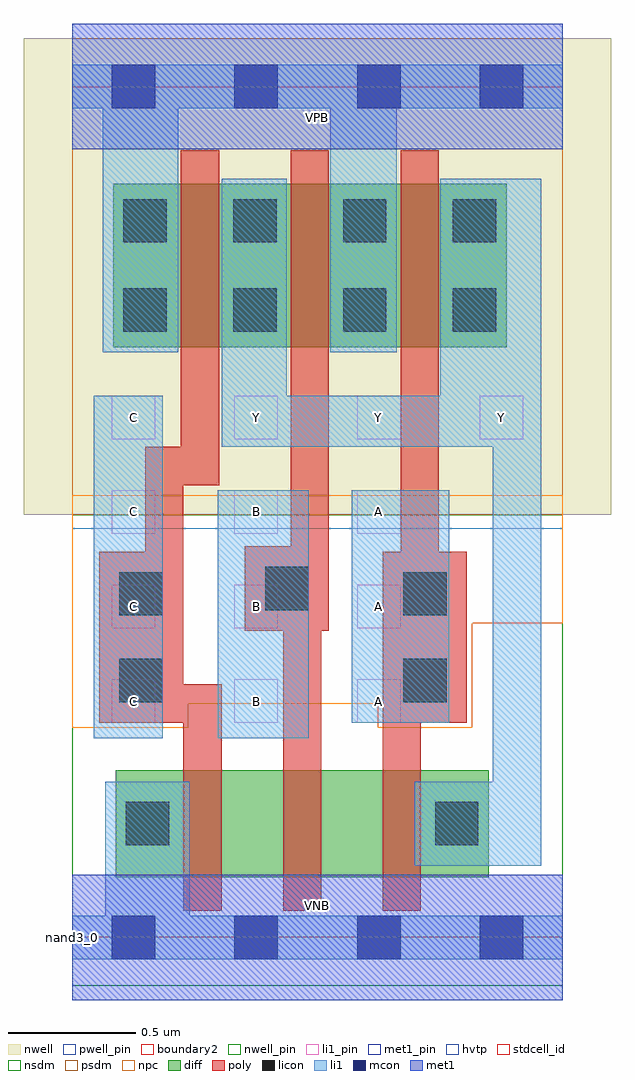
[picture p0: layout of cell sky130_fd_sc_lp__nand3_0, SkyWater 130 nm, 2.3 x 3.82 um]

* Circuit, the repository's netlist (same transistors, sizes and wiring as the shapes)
* Copyright 2020 The SkyWater PDK Authors
*
* Licensed under the Apache License, Version 2.0 (the "License");
* you may not use this file except in compliance with the License.
* You may obtain a copy of the License at
*
*     https://www.apache.org/licenses/LICENSE-2.0
*
* Unless required by applicable law or agreed to in writing, software
* distributed under the License is distributed on an "AS IS" BASIS,
* WITHOUT WARRANTIES OR CONDITIONS OF ANY KIND, either express or implied.
* See the License for the specific language governing permissions and
* limitations under the License.
*
* SPDX-License-Identifier: Apache-2.0

.SUBCKT sky130_fd_sc_lp__nand3_0 A B C VGND VNB VPB VPWR Y
*.PININFO A:I B:I C:I VGND:I VNB:I VPB:I VPWR:I Y:O
MMP0 Y A VPWR VPB sky130_fd_pr__pfet_01v8_hvt m=1 w=0.64U l=0.15U mult=1 sa=0.265
+ sb=0.265 sd=0.28 area=0.063 perim=1.14
MMP1 Y B VPWR VPB sky130_fd_pr__pfet_01v8_hvt m=1 w=0.64U l=0.15U mult=1 sa=0.265
+ sb=0.265 sd=0.28 area=0.063 perim=1.14
MMP2 Y C VPWR VPB sky130_fd_pr__pfet_01v8_hvt m=1 w=0.64U l=0.15U mult=1 sa=0.265
+ sb=0.265 sd=0.28 area=0.063 perim=1.14
MMN0 Y A sndA VNB sky130_fd_pr__nfet_01v8 m=1 w=0.42U l=0.15U mult=1 sa=0.265 sb=0.265
+ sd=0.28 area=0.063 perim=1.14
MMN1 sndA B sndB VNB sky130_fd_pr__nfet_01v8 m=1 w=0.42U l=0.15U mult=1 sa=0.265
+ sb=0.265 sd=0.28 area=0.063 perim=1.14
MMN2 sndB C VGND VNB sky130_fd_pr__nfet_01v8 m=1 w=0.42U l=0.15U mult=1 sa=0.265
+ sb=0.265 sd=0.28 area=0.063 perim=1.14
.ENDS sky130_fd_sc_lp__nand3_0

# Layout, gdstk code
import gdstk
lib = gdstk.Library(unit=1e-6, precision=1e-09)
def R(c, l, rs):  # rectangles x0, y0, x1, y1
    for r in rs: c.add(gdstk.rectangle(r[:2], r[2:], *l))
def A(c, l, x, y, w, h, nx, ny, dx, dy):  # array of equal rectangles
    R(c, l, [(x+i*dx, y+j*dy, x+i*dx+w, y+j*dy+h) for i in range(nx) for j in range(ny)])
def P(c, l, *ps):  # polygons
    for p in ps: c.add(gdstk.Polygon(p, *l))
nwell_pin = (64, 16)
nwell = (64, 20)
diff = (65, 20)
poly = (66, 20)
licon = (66, 44)
li1_pin = (67, 16)
li1 = (67, 20)
mcon = (67, 44)
met1_pin = (68, 16)
met1 = (68, 20)
hvtp = (78, 44)
stdcell_id = (81, 4)
nsdm = (93, 44)
psdm = (94, 20)
npc = (95, 20)
pwell_pin = (122, 16)
boundary2 = (236, 0)

sky130_fd_sc_lp__nand3_0 = lib.new_cell('sky130_fd_sc_lp__nand3_0')
R(sky130_fd_sc_lp__nand3_0, nwell_pin, [(0,3.085,1.92,3.33)])
R(sky130_fd_sc_lp__nand3_0, nwell, [(-0.19,1.655,2.11,3.52)])
R(sky130_fd_sc_lp__nand3_0, diff, [(0.17,0.235,1.63,0.655), (0.16,2.31,1.7,2.95)])
P(sky130_fd_sc_lp__nand3_0, poly, [(0.585,0.99),(0.435,0.99),(0.435,1.77),(0.575,1.77),(0.575,3.08),(0.425,3.08),(0.425,1.92),(0.285,1.92),(0.285,1.51),(0.105,1.51),(0.105,0.84),(0.435,0.84),(0.435,0.105),(0.585,0.105)],
  [(1.005,3.08),(0.855,3.08),(0.855,1.53),(0.675,1.53),(0.675,1.2),(0.825,1.2),(0.825,0.105),(0.975,0.105),(0.975,1.2),(1.005,1.2)],
  [(1.545,1.51),(1.435,1.51),(1.435,3.08),(1.285,3.08),(1.285,1.51),(1.215,1.51),(1.215,0.105),(1.365,0.105),(1.365,0.84),(1.545,0.84)])
A(sky130_fd_sc_lp__nand3_0, licon, 0.2, 2.37, 0.17, 0.17, 4, 2, 0.43, 0.35)
R(sky130_fd_sc_lp__nand3_0, licon, [(0.21,0.36,0.38,0.53), (1.42,0.36,1.59,0.53), (0.185,0.92,0.355,1.09), (1.295,0.92,1.465,1.09), (0.185,1.26,0.355,1.43), (1.295,1.26,1.465,1.43), (0.755,1.28,0.925,1.45)])
A(sky130_fd_sc_lp__nand3_0, li1_pin, 0.155, 0.84, 0.17, 0.17, 3, 3, 0.48, 0.37)
A(sky130_fd_sc_lp__nand3_0, li1_pin, 0.155, 1.95, 0.17, 0.17, 4, 1, 0.48, 0)
R(sky130_fd_sc_lp__nand3_0, li1, [(0.085,0.78,0.355,2.12), (0.57,0.78,0.925,1.75), (1.095,0.84,1.475,1.75)])
P(sky130_fd_sc_lp__nand3_0, li1, [(1.01,2.29),(1.01,3.245),(0.415,3.245),(0.415,2.29),(0.12,2.29),(0.12,3.245),(0,3.245),(0,3.415),(1.92,3.415),(1.92,3.245),(1.27,3.245),(1.27,2.29)],
  [(0.13,0.085),(0.13,0.61),(0.46,0.61),(0.46,0.085),(1.92,0.085),(1.92,-0.085),(0,-0.085),(0,0.085)],
  [(0.585,1.92),(0.585,2.97),(0.84,2.97),(0.84,2.12),(1.44,2.12),(1.44,2.97),(1.835,2.97),(1.835,0.28),(1.34,0.28),(1.34,0.61),(1.645,0.61),(1.645,1.92)])
A(sky130_fd_sc_lp__nand3_0, mcon, 0.155, -0.085, 0.17, 0.17, 4, 2, 0.48, 3.33)
R(sky130_fd_sc_lp__nand3_0, met1_pin, [(0,0,1.92,0.245), (0,3.085,1.92,3.33)])
R(sky130_fd_sc_lp__nand3_0, met1, [(0,-0.245,1.92,0.245), (0,3.085,1.92,3.575)])
R(sky130_fd_sc_lp__nand3_0, hvtp, [(0,1.6,1.92,3.33)])
R(sky130_fd_sc_lp__nand3_0, stdcell_id, [(0,0,1.92,3.33)])
R(sky130_fd_sc_lp__nand3_0, nsdm, [(0,-0.19,1.92,1.655)])
R(sky130_fd_sc_lp__nand3_0, psdm, [(0,1.655,1.92,3.52)])
P(sky130_fd_sc_lp__nand3_0, npc, [(1.92,1.73),(0,1.73),(0,0.82),(0.455,0.82),(0.455,0.915),(1.195,0.915),(1.195,0.82),(1.565,0.82),(1.565,1.23),(1.92,1.23)])
R(sky130_fd_sc_lp__nand3_0, pwell_pin, [(0,0,1.92,0.245)])
R(sky130_fd_sc_lp__nand3_0, boundary2, [(0,0,1.92,3.33)])
sky130_fd_sc_lp__nand3_0.add(gdstk.Label('VNB', (0.96,0.123), layer=64, texttype=59))
sky130_fd_sc_lp__nand3_0.add(gdstk.Label('VPB', (0.96,3.208), layer=64, texttype=5))
sky130_fd_sc_lp__nand3_0.add(gdstk.Label('nand3_0', (0,0), layer=83, texttype=44))
sky130_fd_sc_lp__nand3_0.add(gdstk.Label('VPWR', (0.96,3.208), layer=68, texttype=5))
sky130_fd_sc_lp__nand3_0.add(gdstk.Label('VGND', (0.96,0.123), layer=68, texttype=5))
sky130_fd_sc_lp__nand3_0.add(gdstk.Label('A', (1.2,0.925), layer=67, texttype=5))
sky130_fd_sc_lp__nand3_0.add(gdstk.Label('A', (1.2,1.295), layer=67, texttype=5))
sky130_fd_sc_lp__nand3_0.add(gdstk.Label('A', (1.2,1.665), layer=67, texttype=5))
sky130_fd_sc_lp__nand3_0.add(gdstk.Label('B', (0.72,0.925), layer=67, texttype=5))
sky130_fd_sc_lp__nand3_0.add(gdstk.Label('B', (0.72,1.295), layer=67, texttype=5))
sky130_fd_sc_lp__nand3_0.add(gdstk.Label('B', (0.72,1.665), layer=67, texttype=5))
sky130_fd_sc_lp__nand3_0.add(gdstk.Label('C', (0.24,0.925), layer=67, texttype=5))
sky130_fd_sc_lp__nand3_0.add(gdstk.Label('C', (0.24,1.295), layer=67, texttype=5))
sky130_fd_sc_lp__nand3_0.add(gdstk.Label('C', (0.24,1.665), layer=67, texttype=5))
sky130_fd_sc_lp__nand3_0.add(gdstk.Label('C', (0.24,2.035), layer=67, texttype=5))
sky130_fd_sc_lp__nand3_0.add(gdstk.Label('Y', (0.72,2.035), layer=67, texttype=5))
sky130_fd_sc_lp__nand3_0.add(gdstk.Label('Y', (1.2,2.035), layer=67, texttype=5))
sky130_fd_sc_lp__nand3_0.add(gdstk.Label('Y', (1.68,2.035), layer=67, texttype=5))

lib.write_gds('sky130_fd_sc_lp__nand3_0.gds')
